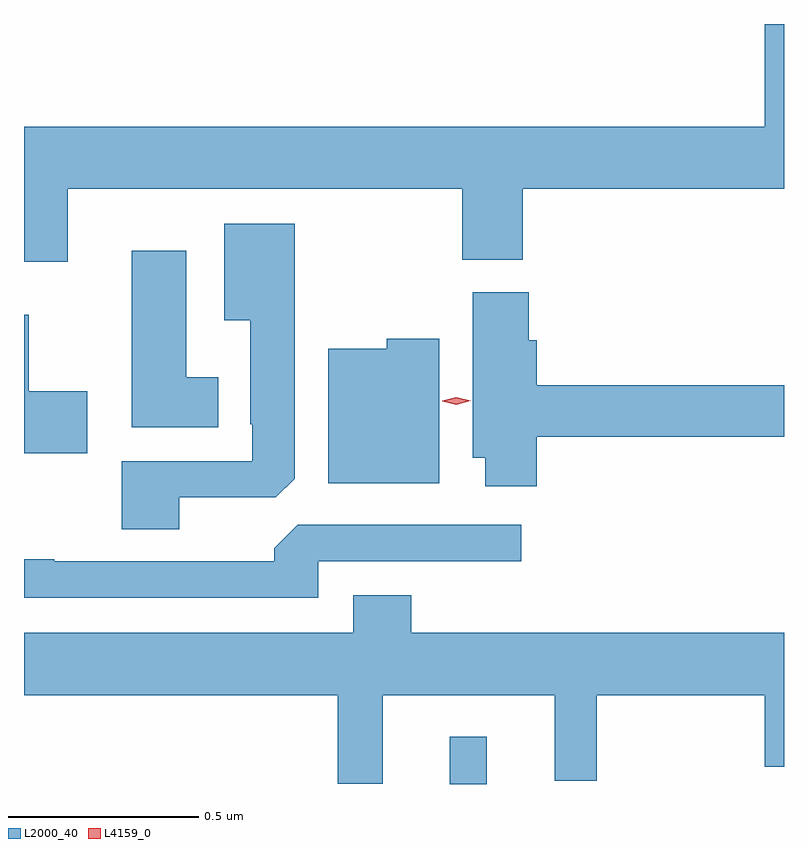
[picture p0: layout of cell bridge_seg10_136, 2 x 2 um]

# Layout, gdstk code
import gdstk
lib = gdstk.Library(unit=1e-6, precision=1e-09)
def R(c, l, rs):  # rectangles x0, y0, x1, y1
    for r in rs: c.add(gdstk.rectangle(r[:2], r[2:], *l))
def P(c, l, *ps):  # polygons
    for p in ps: c.add(gdstk.Polygon(p, *l))
L2000_40 = (2000, 40)
L4159_0 = (4159, 0)

bridge_seg10_136 = lib.new_cell('bridge_seg10_136')
R(bridge_seg10_136, L2000_40, [(355.988,1256.126,356.085,1256.251)])
P(bridge_seg10_136, L2000_40, [(354.982,1257.692),(356.02,1257.692),(356.02,1257.505),(356.18,1257.505),(356.18,1257.692),(356.867,1257.692),(356.867,1258.126),(356.816,1258.126),(356.816,1257.856),(354.867,1257.856),(354.867,1257.5),(354.982,1257.5)],
  [(355.276,1256.88),(355.53,1256.88),(355.579,1256.929),(355.579,1257.601),(355.394,1257.601),(355.394,1257.347),(355.463,1257.347),(355.463,1257.073),(355.467,1257.073),(355.467,1256.976),(355.124,1256.976),(355.124,1256.797),(355.276,1256.797)],
  [(355.378,1257.196),(355.294,1257.196),(355.294,1257.529),(355.151,1257.529),(355.151,1257.065),(355.378,1257.065)],
  [(356.216,1257.04),(356.867,1257.04),(356.867,1257.176),(356.216,1257.176),(356.216,1257.294),(356.195,1257.294),(356.195,1257.42),(356.048,1257.42),(356.048,1256.984),(356.081,1256.984),(356.081,1256.91),(356.216,1256.91)],
  [(355.033,1257.159),(354.88,1257.159),(354.88,1257.361),(354.867,1257.361),(354.867,1256.996),(355.033,1256.996)],
  [(355.96,1257.298),(355.821,1257.298),(355.821,1257.271),(355.667,1257.271),(355.667,1256.918),(355.96,1256.918)],
  [(355.641,1256.712),(356.176,1256.712),(356.176,1256.808),(355.587,1256.808),(355.526,1256.746),(355.526,1256.712),(354.946,1256.712),(354.946,1256.717),(354.867,1256.717),(354.867,1256.616),(355.641,1256.616)],
  [(355.886,1256.623),(355.733,1256.623),(355.733,1256.524),(354.867,1256.524),(354.867,1256.36),(355.693,1256.36),(355.693,1256.127),(355.811,1256.127),(355.811,1256.36),(356.264,1256.36),(356.264,1256.135),(356.374,1256.135),(356.374,1256.36),(356.816,1256.36),(356.816,1256.172),(356.867,1256.172),(356.867,1256.524),(355.886,1256.524)])
P(bridge_seg10_136, L4159_0, [(356.005,1257.124),(355.967,1257.133),(355.967,1257.134),(355.967,1257.134),(356.005,1257.144),(356.042,1257.135),(356.042,1257.134),(356.042,1257.134)])

lib.write_gds('bridge_seg10_136.gds')
